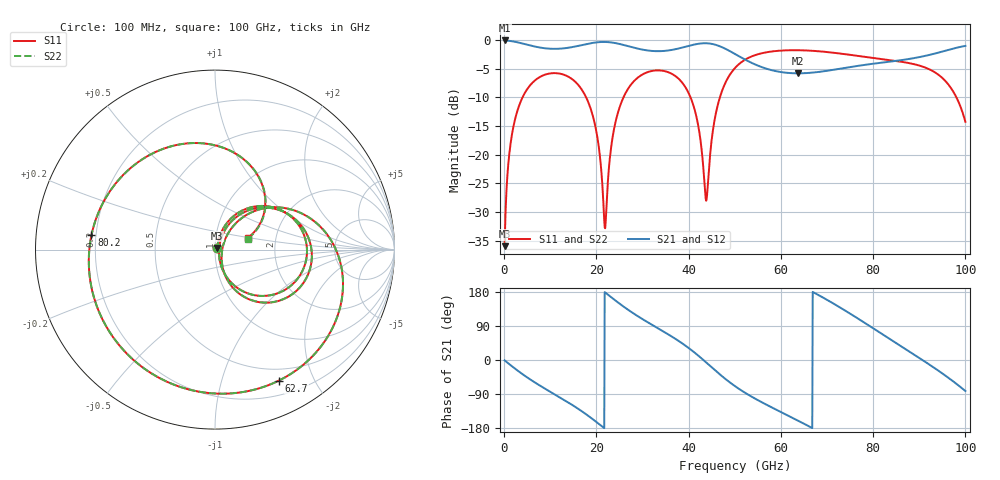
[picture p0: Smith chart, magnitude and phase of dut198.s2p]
! Touchstone file exported from HFSS 2026.1.0
!  File:  C:/ffzhzh/LocalFiles/Ansys_Project_Files/temp_test_TSV_RDL_198_1783480514_33644.aedt
!  Generated:  11:23:02 AM Jul  8, 2026
!  Design:  TSV_RDL
!  Project:  temp_test_TSV_RDL_198_1783480514_33644
! Variables:
!  h_bsmrdl = 4.89um
!  h_ox = 20um
!  h_rdl = 5um
!  h_sub = 69.18um
!  h_tmrdl = 3.15um
!  h_tsv = 69.18um
!  h_via = 3um
!  l_bsmrdl = 534.65um
!  l_sub = 2759um
!  l_tmrdl = 158.77um
!  m_sub = 200um
!  pitch = 45.1um
!  r_tsv = 10.38um
!  s_tmrdl = 10um
!  w_bsmrdl = 13.56um
!  w_sub = 500um
!  w_tmrdl = 26.43um
!  x_tsv_center1 = 171.985um
!  x_tsv_center2 = 720.195um
!  x_tsv_center3 = 905.395um
!  x_tsv_center4 = 1453.605um
!  x_tsv_center5 = 1638.805um
!  x_tsv_center6 = 2187.015um
# GHz S MA R 50.000000
! Terminal data exported
! Port[1] = TM_RDL1_1_T1
! Port[2] = TM_RDL5_1_T1
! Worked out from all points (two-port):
!   1000 points, 100 MHz to 100 GHz, reference 50 ohm
!   highest |S21| = -0.11 dB at 100 MHz (marker M1); lowest = -5.8 dB at 63.7 GHz (marker M2)
!   |S21| within 3 dB of the highest: start of sweep to 51.47 GHz; 89.39 GHz to end of sweep
!   lowest |S11| = -36.0 dB at 100 MHz (marker M3), VSWR 1.03, Z = 51.3 + j0.97 ohm
!   |S11| at or under -10 dB: start of sweep to 4.003 GHz; 17.76 GHz to 25.88 GHz (8.127 GHz wide, 37.2 % of centre); 40.39 GHz to 46.78 GHz (6.388 GHz wide, 14.7 % of centre) (the widest 3 of 4)
!   |S22| runs from -36.0 to -1.8 dB; largest |S21 - S12| = 3.9e-14
!   S11 on the Smith chart (normalised r, x): 100 MHz: 1.03, +0.02; 62.7 GHz: 0.36, -1.54; 80.2 GHz: 0.18, +0.06; 100 GHz: 1.43, +0.19
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0.1  0.01592 36.4  0.9873 -1.0  0.9873 -1.0  0.01592 36.4
! Gamma 0 0 0 0
! Port Impedance 50 0 50 0
1.6  0.1418 67.6  0.9734 -15.6  0.9734 -15.6  0.1418 67.6
4.5  0.3452 44.7  0.9172 -41.8  0.9172 -41.8  0.3452 44.7
10.6  0.5124 0.1  0.8347 -88.1  0.8347 -88.1  0.5124 0.1
16.8  0.3697 -44.3  0.899 -134.9  0.899 -134.9  0.3697 -44.3
19.9  0.1661 -66.9  0.9488 -162.6  0.9488 -162.6  0.1661 -67.1
21.9  0.02279 4.0  0.9579 178.2  0.9579 178.2  0.02228 4.1
25.4  0.2842 49.8  0.9127 145.3  0.9127 145.3  0.2842 50.0
33.4  0.5418 -7.7  0.7961 83.3  0.7961 83.3  0.5418 -7.5
40.4  0.3158 -57.7  0.8936 28.0  0.8936 28.0  0.3159 -57.5
43.8  0.03957 -9.0  0.9335 -6.4  0.9335 -6.4  0.04039 -8.9
46.3  0.2691 47.2  0.8927 -33.2  0.8927 -33.2  0.2692 47.1
50.1  0.5712 16.4  0.7506 -69.5  0.7506 -69.5  0.5712 16.5
55.7  0.7612 -22.4  0.5813 -110.5  0.5813 -110.5  0.7612 -22.2
62.7  0.812 -64.0  0.5114 -153.7  0.5114 -153.7  0.812 -63.8
63.7  0.8116 -70.0  0.5105 -159.9  0.5105 -159.9  0.8116 -69.8
66.7  0.8029 -88.7  0.5173 -179.0  0.5173 -179.0  0.8029 -88.4
74.4  0.7454 -142.0  0.5736 126.9  0.5736 126.9  0.7454 -141.7
80.2  0.693 173.3  0.6205 82.2  0.6205 82.2  0.6929 173.5
83.4  0.6669 148.1  0.6437 57.2  0.6437 57.2  0.6667 148.2
92.6  0.543 76.7  0.7454 -15.4  0.7454 -15.4  0.5429 76.5
100  0.1928 19.7  0.8851 -81.8  0.8851 -81.8  0.1923 18.7
